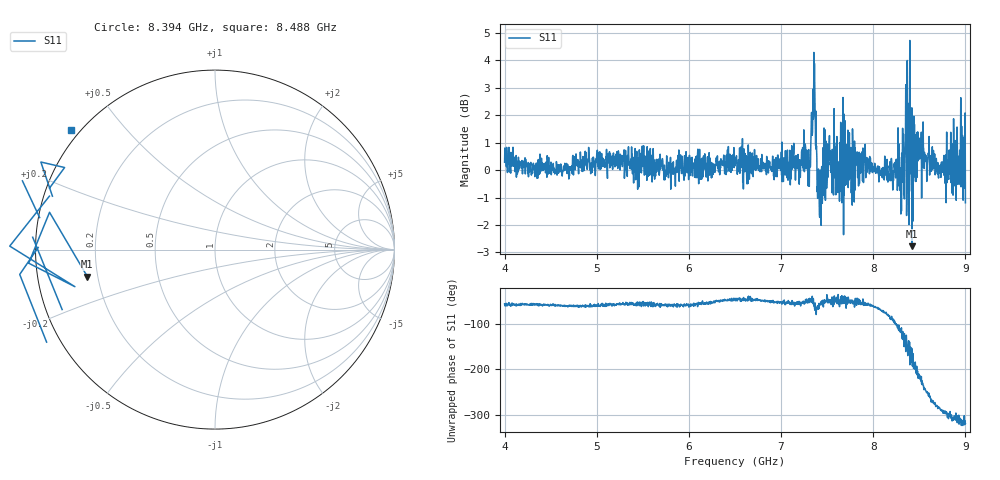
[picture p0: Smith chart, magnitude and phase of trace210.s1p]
! Created with skrf 1.8.0 (http://scikit-rf.org).
# Hz S RI R 50.0
!freq ReS11 ImS11
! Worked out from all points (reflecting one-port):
!   1601 points, 4 GHz to 9 GHz, reference 50 ohm
!   lowest |S11| = -2.8 dB at 8.422 GHz (marker M1), VSWR 6.32, Z = 7.99 - j5.08 ohm
!   phase of S11 starts at -56 deg and turns -264 deg over the sweep
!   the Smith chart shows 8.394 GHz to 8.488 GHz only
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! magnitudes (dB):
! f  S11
! 4 GHz  0.3
! 4.625 GHz  -0.2
! 5.25 GHz  0.1
! 5.875 GHz  0.1
! 6.5 GHz  0.3
! 7.125 GHz  0.1
! 7.294 GHz  -0.6
! 7.319 GHz  0.1
! 7.353 GHz  2.0
! 7.369 GHz  2.2
! 7.412 GHz  -0.7
! 7.512 GHz  0.0
! 7.609 GHz  0.4
! 7.669 GHz  1.7
! 7.75 GHz  -0.1
! 8.312 GHz  0.1
! 8.334 GHz  0.3
! 8.375 GHz  2.4
! 8.394 GHz  1.7
! 8.412 GHz  0.2
! 8.422 GHz  -2.8
! 8.447 GHz  1.7
! 8.459 GHz  -0.4
! 8.497 GHz  1.2
! 8.575 GHz  0.3
! 8.794 GHz  0.1
! 8.972 GHz  0.5
! 9 GHz  -1.2
